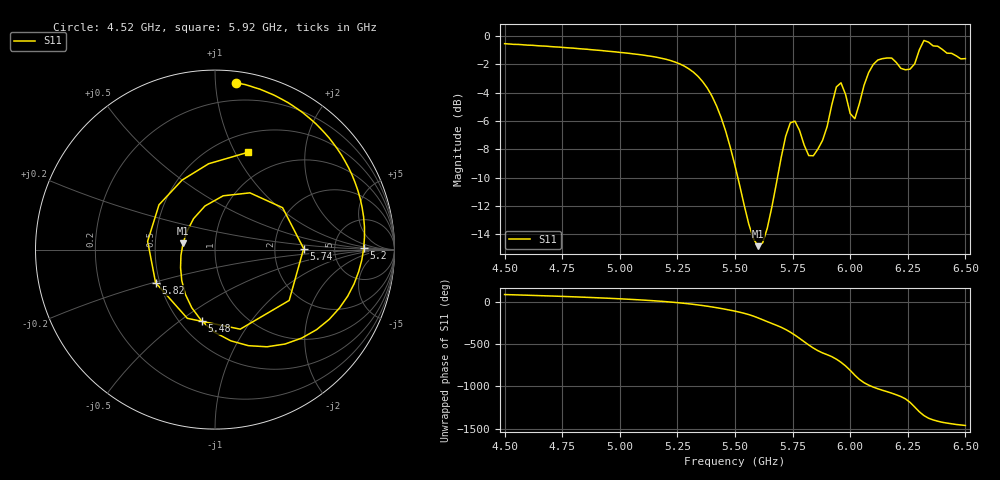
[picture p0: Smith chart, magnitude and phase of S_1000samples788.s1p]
! TOUCHSTONE file generated by CST MICROWAVE STUDIO
! Date and time: Sat Oct 29 09:31:38 2022
! Project name: L.cst
! Parameters = {Di=1.27; Epsilon_r=1.56; InnerDiameter=1.27; Length=2; Lf=10; Lg=60; OuterConductorThickness=0.2921; OuterDiameter=3.6; Wf=3; Wp=41.2; de=1.5; df=6.8; g=0.8; gx=3.80755; gy=2.56256; h=2.34; hf=1.524; px=11.1485; py=14.8685; w=9.7; wx=7.34096; wy=12.306}
! Header version: 2018
! Port assignment regex: !\s*Touchstone port\s*([0-9]+)\s*=\s*(CST MWS port|CST DS port)\s*([0-9]+|Zmin|Zmax)\s*\(\"(.*)\"\)(\s*mode\s*([0-9]+))?.*
! Touchstone port assignment:
! Touchstone port 1 = CST MWS port 1 ("")
# GHz S DB R 50
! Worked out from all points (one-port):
!   101 points, 4.5 GHz to 6.5 GHz, reference 50 ohm
!   lowest |S11| = -14.8 dB at 5.6 GHz (marker M1), VSWR 1.44, Z = 34.8 + j2.5 ohm
!   |S11| at or under -10 dB: 5.512 GHz to 5.684 GHz (171.7 MHz wide, 3.07 % of centre)
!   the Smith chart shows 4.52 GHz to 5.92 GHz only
!   S11 on the Smith chart (normalised r, x): 4.52 GHz: 0.07, +1.13; 5.2 GHz: 11, +1; 5.48 GHz: 0.64, -0.60; 5.74 GHz: 2.95, +0.04; 5.82 GHz: 0.47, -0.20; 5.92 GHz: 0.70, +1.13
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4.5  -0.53 84.5
4.52  -0.56 82.8
4.76  -0.81 61.6
5  -1.15 34.2
5.2  -1.63 0.5
5.26  -1.96 -13.8
5.38  -3.67 -53.4
5.48  -7.88 -100.7
5.5  -9.15 -111.8
5.6  -14.83 169.0
5.7  -8.61 58.4
5.74  -6.12 0.6
5.76  -6.00 -34.4
5.82  -8.43 -150.9
5.92  -4.86 71.4
5.96  -3.30 4.8
6  -5.47 -90.4
6.04  -4.76 162.0
6.1  -2.00 71.8
6.18  -1.55 0.2
6.22  -2.28 -39.9
6.26  -2.33 -108.9
6.28  -1.95 -163.7
6.3  -0.98 140.7
6.32  -0.31 95.7
6.34  -0.43 64.1
6.38  -0.71 28.9
6.5  -1.59 -21.2
